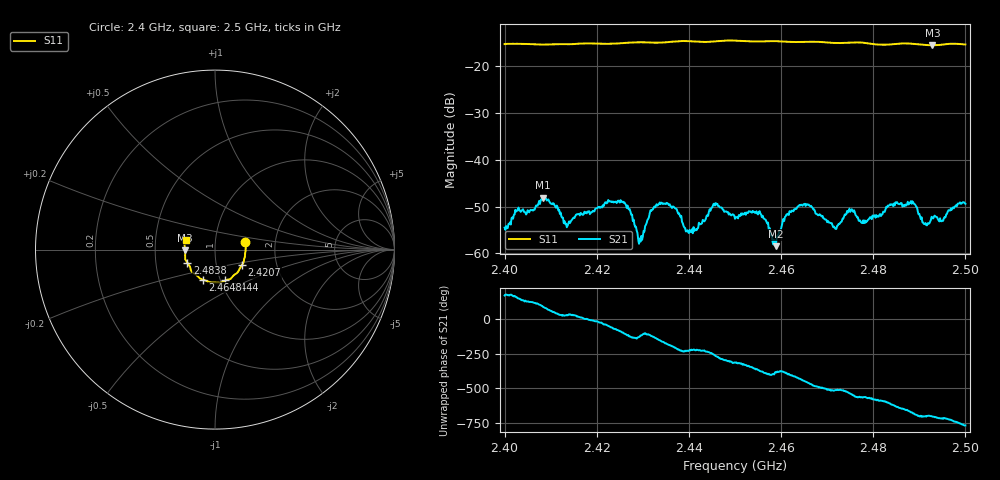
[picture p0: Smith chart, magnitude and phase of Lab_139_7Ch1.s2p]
# Hz S RI R 50
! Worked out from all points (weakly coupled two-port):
!   601 points, 2.4 GHz to 2.5 GHz, reference 50 ohm
!   highest |S21| = -48.10 dB at 2.4083 GHz (marker M1); lowest = -58.4 dB at 2.4588 GHz (marker M2)
!   lowest |S11| = -15.6 dB at 2.4928 GHz (marker M3), VSWR 1.40, Z = 35.7 - j0.306 ohm
!   |S11| at or under -10 dB: start of sweep to end of sweep
!   S12 and S22 are empty: the file has one direction only
!   S11 on the Smith chart (normalised r, x): 2.4 GHz: 1.39, +0.12; 2.4207 GHz: 1.33, -0.24; 2.444 GHz: 1.05, -0.37; 2.4648 GHz: 0.83, -0.29; 2.4838 GHz: 0.73, -0.11; 2.5 GHz: 0.72, +0.08
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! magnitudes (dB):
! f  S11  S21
! 2.4 GHz  -15.3  -54.5
! 2.4083 GHz  -15.4  -48.1
! 2.4133 GHz  -15.4  -53.6
! 2.4167 GHz  -15.2  -51.5
! 2.4207 GHz  -15.2  -50.3
! 2.4257 GHz  -15.1  -49.0
! 2.4295 GHz  -14.9  -57.5
! 2.4333 GHz  -15.0  -49.6
! 2.437 GHz  -14.8  -50.4
! 2.4398 GHz  -14.7  -55.5
! 2.444 GHz  -14.9  -51.8
! 2.4458 GHz  -14.7  -49.3
! 2.45 GHz  -14.6  -52.6
! 2.4552 GHz  -14.7  -51.2
! 2.4588 GHz  -14.7  -58.4
! 2.4648 GHz  -14.9  -49.5
! 2.4667 GHz  -14.8  -50.1
! 2.4718 GHz  -15.1  -54.8
! 2.4833 GHz  -15.4  -49.8
! 2.4838 GHz  -15.4  -49.6
! 2.4928 GHz  -15.6  -52.4
! 2.5 GHz  -15.4  -49.4
